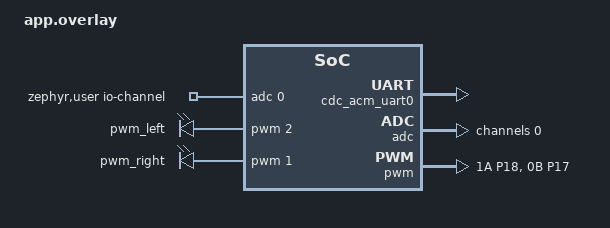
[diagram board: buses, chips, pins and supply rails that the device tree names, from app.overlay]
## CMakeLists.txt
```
cmake_minimum_required(VERSION 3.13.1)
find_package(Zephyr REQUIRED HINTS $ENV{ZEPHYR_BASE})

project(app LANGUAGES C)

target_sources(app PRIVATE 
    src/main.c
    src/analog_read_thread.c
    src/uart_thread.c
    src/pid_thread.c
    src/pwm_thread.c
)

target_include_directories(app PRIVATE ${CMAKE_CURRENT_SOURCE_DIR}/include)
```

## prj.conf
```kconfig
# ADC
CONFIG_ADC=y

# UART
CONFIG_SERIAL=y

# PWM
CONFIG_PWM=y

# Włączenie wsparcia dla %f (float) w printk
CONFIG_CBPRINTF_FP_SUPPORT=y

# USB CDC ACM — potrzebne bo overlay ustawia cdc_acm_uart0 jako konsolę
CONFIG_USB_DEVICE_STACK=y
CONFIG_USB_DEVICE_INITIALIZE_AT_BOOT=y
CONFIG_CONSOLE=y
CONFIG_UART_CONSOLE=y
CONFIG_UART_LINE_CTRL=y
```

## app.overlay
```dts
/*#include <zephyr/dt-bindings/pinctrl/rpi-pico-pinctrl-common.h>
#include <zephyr/dt-bindings/pwm/pwm.h>
*/
/ {
    chosen {
        zephyr,console = &cdc_acm_uart0;
    };
};

&zephyr_udc0 {
    cdc_acm_uart0: cdc_acm_uart0 {
        compatible = "zephyr,cdc-acm-uart";
    };
};

&adc {
    status = "okay";
    #address-cells = <1>;
    #size-cells = <0>;

    channel@0 {
        reg = <0>;
        zephyr,gain = "ADC_GAIN_1";
        zephyr,reference = "ADC_REF_INTERNAL";
        zephyr,acquisition-time = <ADC_ACQ_TIME_DEFAULT>;
        zephyr,resolution = <12>;
    };
};

/ {
    zephyr,user {
        io-channels = <&adc 0>;
    };
};

/ {
    aliases {
        pwmleft = &pwm_left;
        pwmright = &pwm_right;
    };

    pwm_nodes {
        compatible = "pwm-leds";
        
        pwm_left: pwm_0 {
            /* ZMIANA: PWM_1A (GPIO 18) to sprzętowy kanał 2 */
            pwms = <&pwm 2 PWM_USEC(2000) PWM_POLARITY_NORMAL>;
        };
        
        pwm_right: pwm_1 {
            /* PWM_0B (GPIO 17) to sprzętowy kanał 1 */
            pwms = <&pwm 1 PWM_USEC(2000) PWM_POLARITY_NORMAL>;
        };
    };
};

&pinctrl {
    pwm_default: pwm_default {
        group1 {
            /* Zostaje bez zmian - konfiguracja dla pinu 18 i 17 */
            pinmux = <PWM_1A_P18>, <PWM_0B_P17>;
        };
    };
};

&pwm {
    status = "okay";
    pinctrl-0 = <&pwm_default>;
    pinctrl-names = "default";
    
    /* Dzielnik dla Slice 0 (obsługuje m.in. pin 17 - prawy) */
    divider-int-0 = <255>; 
    /* NOWE: Dzielnik dla Slice 1 (obsługuje m.in. pin 18 - lewy) */
    divider-int-1 = <255>; 
};
```

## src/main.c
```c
#include <zephyr/kernel.h>
#include <zephyr/drivers/uart.h>

#include "uart_thread.h"
#include "analog_read_thread.h"
#include "pid_thread.h"
#include "pwm_thread.h"

// INIT
// inicjalizacja kolejek
K_MSGQ_DEFINE(uart_queue, sizeof(uint16_t), 10, 2);
K_MSGQ_DEFINE(analog_queue, sizeof(uint16_t), 10, 2);
K_MSGQ_DEFINE(pwm_queue, sizeof(float), 4, 4); // PID → PWM thread

// inicjalizacja wątków
K_THREAD_DEFINE(uart_com, UART_STACK_SIZE, uart_read_data, NULL, NULL, NULL, UART_PRIORITY, 0, 0);
K_THREAD_DEFINE(analog_read, ANALOG_READ_STACK_SIZE, analog_read_data, NULL, NULL, NULL, ANALOG_READ_PRIORITY, 0, 0);
K_THREAD_DEFINE(pid_thread, PID_STACK_SIZE, pid, NULL, NULL, NULL, PID_PRIORITY, 0, 0);
K_THREAD_DEFINE(pwm_thread, PWM_STACK_SIZE, pwm_out, NULL, NULL, NULL, PWM_PRIORITY, 0, 0);

int main(void) {

  return 0;
}
```

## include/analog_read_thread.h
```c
#ifndef ANALOG_READ_THREAD_H
#define ANALOG_READ_THREAD_H

#include <zephyr/kernel.h>
#include <zephyr/drivers/adc.h>

#define ANALOG_READ_STACK_SIZE 1024
#define ANALOG_READ_PRIORITY 1 // sensor - wysoki priorytet dla feedback

#define ANALOG_READ_FREQ 10 // czestotliwosc odczytu wartości analogowej w Hz 

extern struct k_msgq analog_queue;

void analog_read_data(void *p1, void *p2, void *p3);

#endif /* ANALOG_READ_THREAD_H */
```

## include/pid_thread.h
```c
#ifndef PID_THREAD_H
#define PID_THREAD_H

#include <zephyr/kernel.h>
#include "uart_thread.h"
#include "analog_read_thread.h"
#include "pwm_thread.h"

// Parametry wątku
#define PID_STACK_SIZE 2048
#define PID_PRIORITY 3

// Parametry regulatora PID
#define KP   1.0f 
#define TI   0.5f
#define TD   0.05f
#define TT   0.2f // stała czasowa anti-windup back calculation (typowo sqrt(TI*TD))

// Limity wyjścia
#define U_MAX  100.0f

// Mapowanie ADC na kąt
// 12-bit ADC (0–4095), potencjometr:
//   ADC = 0    → −45°
//   ADC = 2048 → 0°
//   ADC = 4095 → +45°
#define ADC_MID     2048
#define ANGLE_RANGE 45.0f
#define ADC_MAX     4095

void pid(void *p1, void *p2, void *p3);

#endif /* PID_THREAD_H */
```

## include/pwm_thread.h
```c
#ifndef PWM_THREAD_H
#define PWM_THREAD_H

#include <zephyr/kernel.h>
#include <zephyr/drivers/pwm.h>
#include <math.h>

#define PWM_STACK_SIZE 2048
#define PWM_PRIORITY 2 // wysoki priorytet dla odbioru zadanej pozycji

#define PWM_FREQ 10 // czestotliwosc odczytu wartości analogowej w Hz 

#define DEAD_TIME 500 // czas wyłączenia tranzystorów w ms

extern struct k_msgq pwm_queue;

void pwm_out(void *p1, void *p2, void *p3);

enum pwm_state {
    IDLE,
    LEFT,
    DEAD_TIME_WAIT,
    RIGHT
};

#endif /* PWM_THREAD_H */
```

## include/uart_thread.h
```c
#ifndef UART_THREAD_H
#define UART_THREAD_H

#include <zephyr/kernel.h>
#include <zephyr/drivers/uart.h>

#define UART_STACK_SIZE 1024
#define UART_PRIORITY 2 // wysoki priorytet dla odbioru zadanej pozycji

#define UART_READ_FREQ 10 // czestotliwosc odczytu wartości analogowej w Hz 

extern struct k_msgq uart_queue;

void uart_read_data(void *p1, void *p2, void *p3);

#endif /* UART_THREAD_H */
```

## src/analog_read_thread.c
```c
#include "analog_read_thread.h"

void analog_read_data(void *p1, void *p2, void *p3) {
    // inicjalizacja analog in
    static const struct adc_dt_spec pot_channel = ADC_DT_SPEC_GET(DT_PATH(zephyr_user));

    while (!adc_is_ready_dt(&pot_channel)) {
        k_msleep(10); // oczekiwanie na gotowość analog
    }

    adc_channel_setup_dt(&pot_channel);

    // zmienne wątku
    uint16_t analog_value;
    int err_adc;

    struct adc_sequence sequence = {
        .buffer = &analog_value, // gdzie zapisac wynik
        .buffer_size = sizeof(analog_value), // rozmiar bufora
    };

    while (1) {
        // odczyt
        adc_sequence_init_dt(&pot_channel, &sequence);
        sequence.resolution = 12; // RPi Pico ma 12-bitowy przetwornik ADC

        err_adc = adc_read(pot_channel.dev, &sequence);

        if (err_adc < 0) {
            printk("Błąd odczytu ADC: %d\n", err_adc);
        } else {
            //printk("odczytany wynik: %u\n", analog_value);
        }
        
        k_msgq_put(&analog_queue, &analog_value, K_NO_WAIT);

        k_msleep(1000/ANALOG_READ_FREQ); // definicja w .h
    }
}
```

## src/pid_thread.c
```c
#include "pid_thread.h"
#include <math.h>

// Mapowanie ADC
static float adc_to_angle(uint16_t adc_value) {
    return ((float)adc_value - ADC_MID) * (2.0f * ANGLE_RANGE) / ADC_MAX;
}

// Saturacja
static float clamp_float(float value, float min_val, float max_val) {
    if (value > max_val) return max_val;
    if (value < min_val) return min_val;
    return value;
}

void pid(void *p1, void *p2, void *p3) {
    // zmienne regulatora PID
    float I_state = 0.0f; // stan integratora
    float prev_e  = 0.0f; // poprzedni uchyb 
    bool  first   = true; // flaga pierwszej iteracji
    uint32_t last_time = 0;

    uint16_t reference_raw = ADC_MID;
    uint16_t actual_raw    = ADC_MID;

    while (1) {

        // wątek czeka tutaj aż analog_read_thread wyśle nową próbkę
        if (k_msgq_get(&analog_queue, &actual_raw, K_FOREVER) != 0) {
            continue;
        }

        // odbiór wartości zadanej z UART (bez blokowania)
        // opróżniamy kolejkę żeby dostać najnowszą wartość
        while (k_msgq_get(&uart_queue, &reference_raw, K_NO_WAIT) == 0) {}

        // konwersja na kąt
        float ref = adc_to_angle(reference_raw);
        float actual = adc_to_angle(actual_raw);

        //printk("Otrzymana wartość actual: %f\n", actual);

        // pierwsza iteracja — tylko inicjalizacja
        if (first) {
            prev_e = ref - actual;
            last_time = k_uptime_get_32();
            first = false;
            continue;
        }

        // obliczenie dt
        uint32_t now = k_uptime_get_32();
        float dt = (now - last_time) / 1000.0f; // s

        // zabezpieczenie: jeśli dt ≈ 0, pomiń iterację
        if (dt < 0.001f) {
            continue;
        }

        // uchyb
        float e = ref - actual;

        // człon P
        float P = KP * e;

        // człon D (pochodna uchybu)
        float D = KP * TD * (e - prev_e) / dt;

        // wyjście nieograniczone
        float v = P + I_state + D;

        // saturacja
        float u = clamp_float(v, -U_MAX, U_MAX);

        // błąd saturacji
        float es = u - v;

        // anti-windup back calculation
        I_state += ((KP / TI) * e + (1.0f / TT) * es) * dt;

        // wysłanie sterowania do wątku PWM
        k_msgq_put(&pwm_queue, &u, K_NO_WAIT);

        prev_e = e;
        last_time = now;
    }
}
```

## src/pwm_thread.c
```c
#include "pwm_thread.h"

void pwm_out(void *p1, void *p2, void *p3) {
    // inicjalizacja pwm
    static const struct pwm_dt_spec pwm_l = PWM_DT_SPEC_GET(DT_ALIAS(pwmleft));
    static const struct pwm_dt_spec pwm_r = PWM_DT_SPEC_GET(DT_ALIAS(pwmright));

    while (!pwm_is_ready_dt(&pwm_r) || !pwm_is_ready_dt(&pwm_l)) {
        k_msleep(10); // oczekiwanie na gotowość PWM
    }

    // zmienne wątku
    enum pwm_state state = IDLE; // wartosc poczatkowa stanu wyjsc
    float u; // sterowanie pwm
    uint32_t dead_time_start;

    while (1) {

        k_msgq_get(&pwm_queue, &u, K_NO_WAIT);
        
        // sterowanie sekwencyjne
        if (u > 0) { // sterowanie lewo
            if (state == IDLE) {
                state = LEFT;
            } else if (state == RIGHT) {
                dead_time_start = k_uptime_get_32();
                state = DEAD_TIME_WAIT;
            } else if (state == DEAD_TIME_WAIT) {
                if (k_uptime_get_32() - dead_time_start > DEAD_TIME) {
                    state = LEFT;
                }
            }
        } else if (u < 0) { // sterowanie prawo
            if (state == IDLE) {
                state = RIGHT;
            } else if (state == LEFT) {
                dead_time_start = k_uptime_get_32();
                state = DEAD_TIME_WAIT;
            } else if (state == DEAD_TIME_WAIT) {
                if (k_uptime_get_32() - dead_time_start > DEAD_TIME) {
                    state = RIGHT;
                }
            }
        } else { // zatrzymanie
            if (state != IDLE && state != DEAD_TIME_WAIT) {
                dead_time_start = k_uptime_get_32();
                state = DEAD_TIME_WAIT;
            } else {
                if (k_uptime_get_32() - dead_time_start > DEAD_TIME) {
                    state = IDLE;
                }
            }
        }

        // wyjscia
        float abs_u = fabs(u); // wartosc bezwzgledna
        uint32_t pulse_l = 0;
        uint32_t pulse_r = 0;

        if (state == LEFT) {
            pulse_l = (pwm_l.period * (uint32_t)abs_u) / 100;
        }

        if (state == RIGHT) {
            pulse_r = (pwm_r.period * (uint32_t)abs_u) / 100;
        }

        printk("lewy: %u,    prawy: %u\n", pulse_l, pulse_r);
        pwm_set_pulse_dt(&pwm_l, pulse_l);
        pwm_set_pulse_dt(&pwm_r, pulse_r);

        k_msleep(1000/PWM_FREQ);

    }
}
```

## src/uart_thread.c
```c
#include "uart_thread.h"

void uart_read_data(void *p1, void *p2, void *p3) {
    // inicjalizacja uart
    const struct device *uart_dev = DEVICE_DT_GET(DT_NODELABEL(uart0)); // definicja uart

    while (!device_is_ready(uart_dev)) {
        k_msleep(10); // oczekiwanie na gotowość urządzenia UART
    }

    // zmienne wątku
    unsigned char high_byte;
    unsigned char low_byte;
    uint16_t received_data;
    bool high_byte_in = false; // flagi żeby nie blokować procesora
    bool low_byte_in = false;

    while (1) {
        // TODO: jakies sprawdzenie danych UART, może Byte startowy czy coś
        if (!high_byte_in) {
            if (!uart_poll_in(uart_dev, &high_byte)) high_byte_in = true;
        } else {
            if (!uart_poll_in(uart_dev, &low_byte)) low_byte_in = true;
        }

        if (high_byte_in && low_byte_in) {
            received_data = (high_byte << 8) | low_byte;
            high_byte_in = false;
            low_byte_in = false;
            k_msgq_put(&uart_queue, &received_data, K_NO_WAIT);
        }

        k_msleep(1000/UART_READ_FREQ); // definicja w .h
    }
}
```
